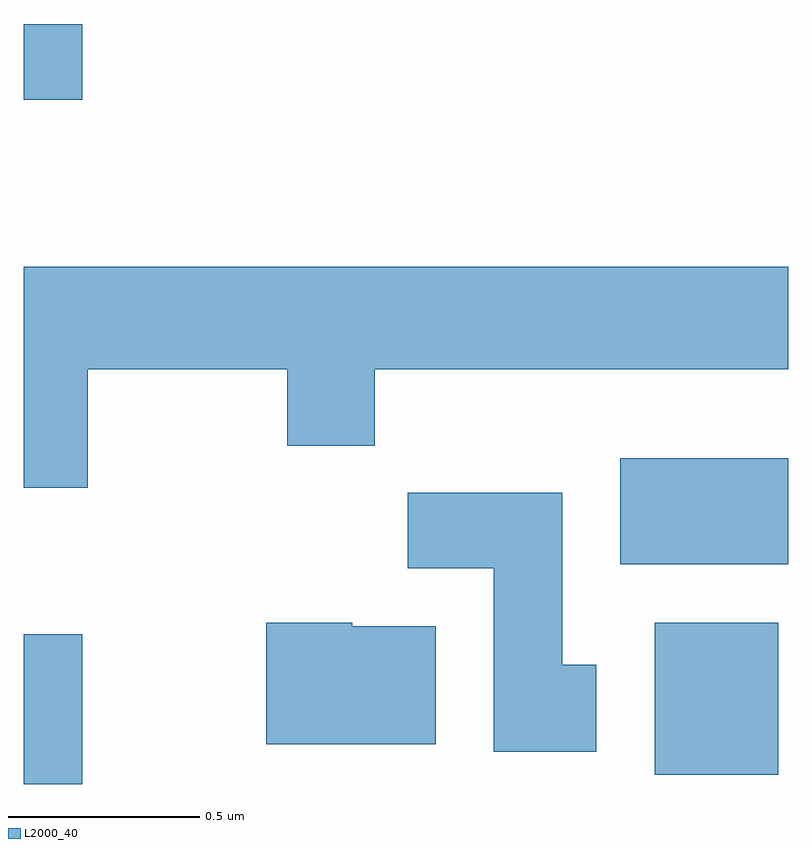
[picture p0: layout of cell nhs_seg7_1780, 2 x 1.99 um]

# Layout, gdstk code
import gdstk
lib = gdstk.Library(unit=1e-6, precision=1e-09)
def R(c, l, rs):  # rectangles x0, y0, x1, y1
    for r in rs: c.add(gdstk.rectangle(r[:2], r[2:], *l))
def P(c, l, *ps):  # polygons
    for p in ps: c.add(gdstk.Polygon(p, *l))
L2000_40 = (2000, 40)

nhs_seg7_1780 = lib.new_cell('nhs_seg7_1780')
R(nhs_seg7_1780, L2000_40, [(197.611,1804.252,197.764,1804.644), (199.261,1804.276,199.584,1804.674), (199.171,1804.826,199.611,1805.104), (197.611,1806.041,197.764,1806.239)])
P(nhs_seg7_1780, L2000_40, [(197.779,1805.336),(198.301,1805.336),(198.301,1805.136),(198.529,1805.136),(198.529,1805.336),(199.611,1805.336),(199.611,1805.604),(197.611,1805.604),(197.611,1805.026),(197.779,1805.026)],
  [(199.109,1804.564),(199.019,1804.564),(199.019,1805.014),(198.616,1805.014),(198.616,1804.816),(198.841,1804.816),(198.841,1804.336),(199.109,1804.336)],
  [(198.689,1804.664),(198.47,1804.664),(198.47,1804.674),(198.246,1804.674),(198.246,1804.356),(198.689,1804.356)])

lib.write_gds('nhs_seg7_1780.gds')
